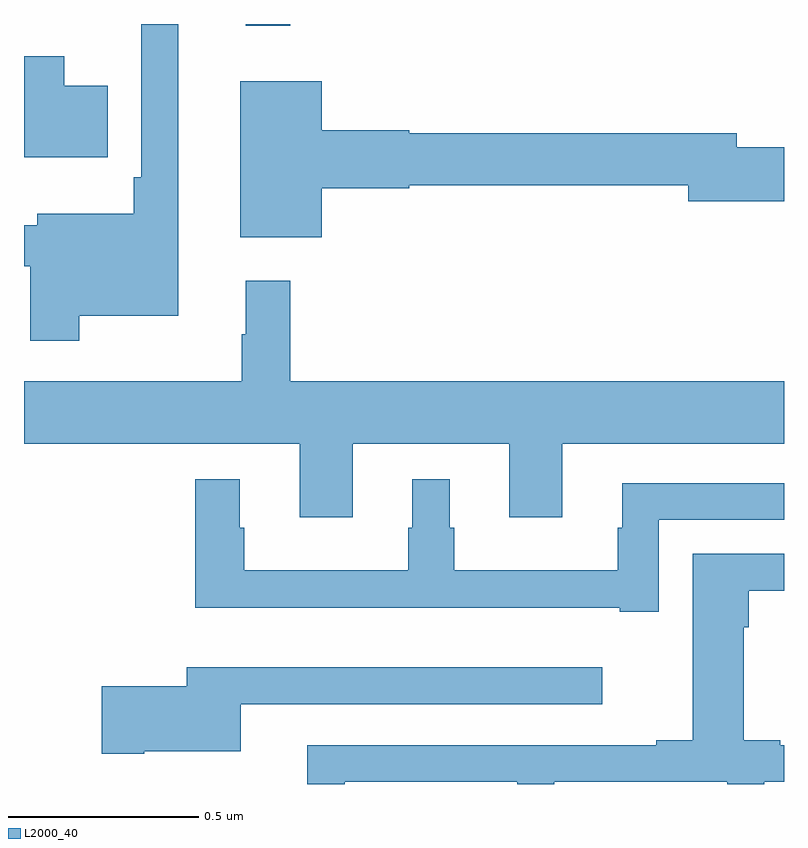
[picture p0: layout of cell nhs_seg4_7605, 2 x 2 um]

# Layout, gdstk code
import gdstk
lib = gdstk.Library(unit=1e-6, precision=1e-09)
def R(c, l, rs):  # rectangles x0, y0, x1, y1
    for r in rs: c.add(gdstk.rectangle(r[:2], r[2:], *l))
def P(c, l, *ps):  # polygons
    for p in ps: c.add(gdstk.Polygon(p, *l))
L2000_40 = (2000, 40)

nhs_seg4_7605 = lib.new_cell('nhs_seg4_7605')
R(nhs_seg4_7605, L2000_40, [(204.584,821.895,204.701,821.9)])
P(nhs_seg4_7605, L2000_40, [(204.145,821.132),(204.406,821.132),(204.406,821.9),(204.309,821.9),(204.309,821.497),(204.289,821.497),(204.289,821.401),(204.035,821.401),(204.035,821.371),(204,821.371),(204,821.262),(204.016,821.262),(204.016,821.067),(204.145,821.067)],
  [(204.22,821.737),(204.106,821.737),(204.106,821.815),(204,821.815),(204,821.549),(204.22,821.549)],
  [(204.784,821.468),(205.014,821.468),(205.014,821.476),(205.748,821.476),(205.748,821.434),(206,821.434),(206,821.576),(205.876,821.576),(205.876,821.612),(205.014,821.612),(205.014,821.62),(204.784,821.62),(204.784,821.749),(204.569,821.749),(204.569,821.339),(204.784,821.339)],
  [(204.865,820.796),(205.277,820.796),(205.277,820.602),(205.417,820.602),(205.417,820.796),(206,820.796),(206,820.96),(204.701,820.96),(204.701,821.224),(204.584,821.224),(204.584,821.084),(204.573,821.084),(204.573,820.96),(204,820.96),(204,820.796),(204.725,820.796),(204.725,820.602),(204.865,820.602)],
  [(205.671,820.596),(206,820.596),(206,820.692),(205.574,820.692),(205.574,820.574),(205.563,820.574),(205.563,820.462),(205.132,820.462),(205.132,820.574),(205.12,820.574),(205.12,820.702),(205.022,820.702),(205.022,820.574),(205.011,820.574),(205.011,820.462),(204.58,820.462),(204.58,820.574),(204.568,820.574),(204.568,820.702),(204.451,820.702),(204.451,820.364),(205.568,820.364),(205.568,820.353),(205.671,820.353)],
  [(204.844,819.906),(205.298,819.906),(205.298,819.9),(205.396,819.9),(205.396,819.906),(205.85,819.906),(205.85,819.9),(205.948,819.9),(205.948,819.906),(206,819.906),(206,820.002),(205.99,820.002),(205.99,820.015),(205.894,820.015),(205.894,820.313),(205.907,820.313),(205.907,820.409),(206,820.409),(206,820.506),(205.76,820.506),(205.76,820.015),(205.664,820.015),(205.664,820.002),(204.746,820.002),(204.746,819.9),(204.844,819.9)],
  [(204.316,819.986),(204.571,819.986),(204.571,820.11),(205.522,820.11),(205.522,820.207),(204.428,820.207),(204.428,820.157),(204.204,820.157),(204.204,819.979),(204.316,819.979)])

lib.write_gds('nhs_seg4_7605.gds')
